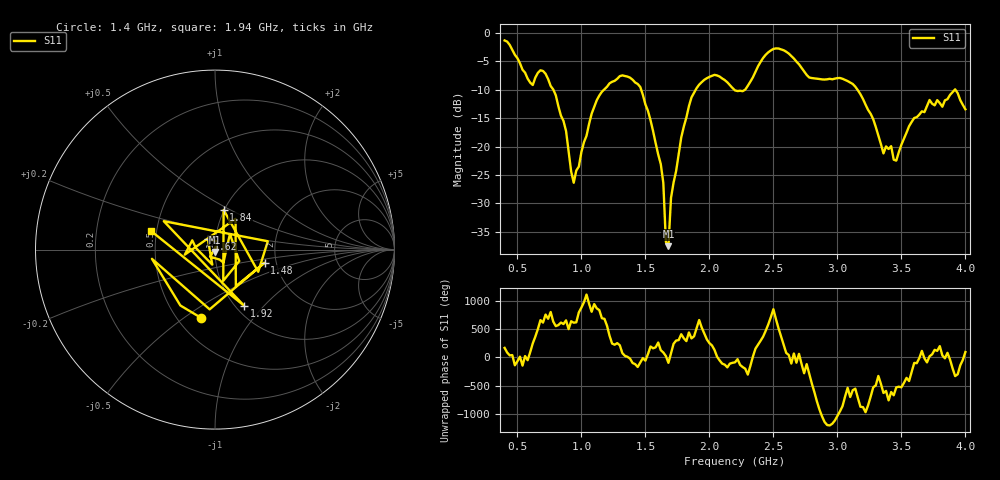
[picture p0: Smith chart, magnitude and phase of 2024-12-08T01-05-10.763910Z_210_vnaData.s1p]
!Created with skrf (http://scikit-rf.org).
# Hz S RI R 50.0
!freq ReS11 ImS11
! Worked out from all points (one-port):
!   181 points, 400 MHz to 4 GHz, reference 50 ohm
!   lowest |S11| = -37.5 dB at 1.68 GHz (marker M1), VSWR 1.03, Z = 49.8 - j1.3 ohm
!   |S11| at or under -10 dB: 780.9 MHz to 1.176 GHz (395.6 MHz wide, 40.4 % of centre); 1.467 GHz to 1.893 GHz (426 MHz wide, 25.4 % of centre); 3.157 GHz to 3.917 GHz (760.2 MHz wide, 21.5 % of centre) (the widest 3 of 5)
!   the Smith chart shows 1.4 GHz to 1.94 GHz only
!   S11 on the Smith chart (normalised r, x): 1.4 GHz: 0.65, -0.58; 1.48 GHz: 1.73, -0.28; 1.62 GHz: 0.92, +0.11; 1.84 GHz: 0.99, +0.46; 1.92 GHz: 1.10, -0.78; 1.94 GHz: 0.47, +0.11
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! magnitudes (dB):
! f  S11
! 400 MHz  -1.3
! 620 MHz  -9.2
! 720 MHz  -7.2
! 860 MHz  -15.5
! 940 MHz  -26.4
! 1.12 GHz  -11.8
! 1.3 GHz  -7.6
! 1.4 GHz  -8.2
! 1.48 GHz  -10.9
! 1.62 GHz  -23.1
! 1.64 GHz  -26.4
! 1.66 GHz  -36.8
! 1.68 GHz  -37.5
! 1.7 GHz  -29.1
! 1.76 GHz  -21.3
! 1.84 GHz  -12.9
! 1.92 GHz  -9.1
! 1.94 GHz  -8.7
! 2.2 GHz  -10.1
! 2.5 GHz  -2.8
! 2.66 GHz  -4.5
! 2.78 GHz  -7.8
! 3.1 GHz  -8.7
! 3.36 GHz  -21.2
! 3.46 GHz  -22.5
! 3.56 GHz  -16.4
! 3.92 GHz  -9.9
! 4 GHz  -13.4
